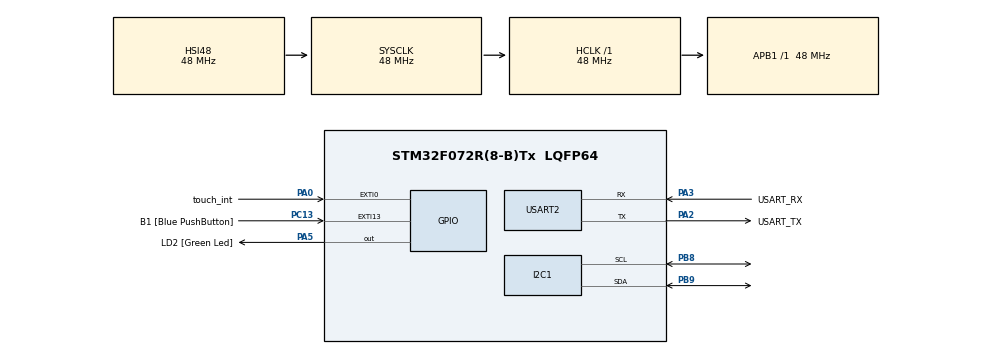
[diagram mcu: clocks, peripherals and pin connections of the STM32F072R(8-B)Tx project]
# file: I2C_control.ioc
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I2C1.Timing=0x00201D2B
Mcu.Family=STM32F0
Mcu.Name=STM32F072R(8-B)Tx
Mcu.Package=LQFP64
NVIC.EXTI0_1_IRQn=true\:3\:0\:true\:false\:true\:true\:true\:true
NVIC.TIM7_IRQn=true\:2\:0\:true\:false\:true\:true\:true\:true
PA0.GPIO_Label=touch_int
PA0.GPIO_ModeDefaultEXTI=GPIO_MODE_IT_RISING_FALLING
PA0.Signal=GPXTI0
PA13.GPIO_Label=TMS
PA13.Mode=Serial_Wire
PA13.Signal=SYS_SWDIO
PA14.GPIO_Label=TCK
PA14.Mode=Serial_Wire
PA14.Signal=SYS_SWCLK
PA2.GPIO_Label=USART_TX
PA2.GPIO_Mode=GPIO_MODE_AF_PP
PA2.GPIO_PuPd=GPIO_NOPULL
PA2.GPIO_Speed=GPIO_SPEED_FREQ_LOW
PA2.Mode=Asynchronous
PA2.Signal=USART2_TX
PA3.GPIO_Label=USART_RX
PA3.GPIO_Mode=GPIO_MODE_AF_PP
PA3.GPIO_PuPd=GPIO_NOPULL
PA3.GPIO_Speed=GPIO_SPEED_FREQ_LOW
PA3.Mode=Asynchronous
PA3.Signal=USART2_RX
PA5.GPIO_Label=LD2 [Green Led]
PA5.GPIO_Mode=GPIO_MODE_OUTPUT_PP
PA5.GPIO_PuPd=GPIO_NOPULL
PA5.GPIO_Speed=GPIO_SPEED_FREQ_LOW
PA5.Signal=GPIO_Output
PB8.Mode=I2C
PB8.Signal=I2C1_SCL
PB9.Mode=I2C
PB9.Signal=I2C1_SDA
PC13.GPIO_Label=B1 [Blue PushButton]
PC13.GPIO_ModeDefaultEXTI=GPIO_MODE_IT_FALLING
PC13.Signal=GPXTI13
PC14-OSC32_IN.Mode=LSE-External-Oscillator
PC14-OSC32_IN.Signal=RCC_OSC32_IN
PC15-OSC32_OUT.Mode=LSE-External-Oscillator
PC15-OSC32_OUT.Signal=RCC_OSC32_OUT
PF0-OSC_IN.Mode=HSE-External-Clock-Source
PF0-OSC_IN.Signal=RCC_OSC_IN
PF1-OSC_OUT.Signal=RCC_OSC_OUT
ProjectManager.HeapSize=0x200
ProjectManager.StackSize=0x400
ProjectManager.TargetToolchain=MDK-ARM V5.32
RCC.AHBFreq_Value=48000000
RCC.APB1Freq_Value=48000000
RCC.APB1TimFreq_Value=48000000
RCC.FLatency-AdvancedSettings=FLASH_LATENCY_1
RCC.HCLKFreq_Value=48000000
RCC.PLLDivider=RCC_PREDIV_DIV2
RCC.PLLMUL=RCC_PLL_MUL12
RCC.PREFETCH_ENABLE-AdvancedSettings=1
RCC.SYSCLKFreq_VALUE=48000000
RCC.SYSCLKSource=RCC_SYSCLKSOURCE_HSI48
TIM7.Prescaler=480
USART2.VirtualMode=VM_ASYNC
USART2.VirtualMode-Asynchronous=VM_ASYNC
VP_TIM7_VS_ClockSourceINT.Mode=Enable_Timer
board=NUCLEO-F072RB

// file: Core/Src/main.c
/* USER CODE BEGIN Header */
/**
  ******************************************************************************
  * @file           : main.c
  * @brief          : Main program body
  ******************************************************************************
  * @attention
  *
  * Copyright (c) 2026 STMicroelectronics.
  * All rights reserved.
  *
  * This software is licensed under terms that can be found in the LICENSE file
  * in the root directory of this software component.
  * If no LICENSE file comes with this software, it is provided AS-IS.
  *
  ******************************************************************************
  */
/* USER CODE END Header */
#include "main.h"

/* USER CODE BEGIN Includes */
#include "touch_control.h"
#include <stdio.h>
#include <string.h>
/* USER CODE END Includes */

I2C_HandleTypeDef hi2c1;

TIM_HandleTypeDef htim7;

UART_HandleTypeDef huart2;

/* USER CODE BEGIN PV */
/* Event bits are set in the EXTI callback, processed in main(). */
#define TOUCH_EVENT_PRESS   0x01U
#define TOUCH_EVENT_RELEASE 0x02U
static volatile uint8_t touch_irq_events = 0U;
static uint8_t touch_pressed = 0U;
static uint32_t touch_last_timer_tick = 0U;
static uint8_t touch_last_key = 0xFFU;

/* USER CODE END PV */

void SystemClock_Config(void);
static void MX_GPIO_Init(void);
static void MX_I2C1_Init(void);
static void MX_TIM7_Init(void);
static void MX_USART2_UART_Init(void);
/* USER CODE BEGIN PFP */
static void Serial_Print(const char *message);
static void Serial_PrintTouchValue(uint8_t value);

/* USER CODE END PFP */

int main(void)
{

  /* USER CODE BEGIN 1 */
  /* Peripheral access must happen AFTER HAL and MX initialization. */
  /* Hardware initialization is performed below. */
  /* USER CODE END 1 */

  /* MCU Configuration--------------------------------------------------------*/

  /* Reset of all peripherals, Initializes the Flash interface and the Systick. */
  HAL_Init();

  /* Configure the system clock */
  SystemClock_Config();

  /* Initialize all configured peripherals */
  MX_GPIO_Init();
  MX_I2C1_Init();
  MX_TIM7_Init();
  MX_USART2_UART_Init();
  /* USER CODE BEGIN 2 */
  /* USART2: 38400, 8 data bits, no parity, 1 stop bit. */
  Serial_Print("STM32 BM Touch Ready\r\n");
  Serial_Print("I2C1: PB8=SCL, PB9=SDA; PA0=Touch INT\r\n");
  Serial_Print("Touch Pad: press/release to test\r\n");
  /* USER CODE END 2 */

  /* Infinite loop */
  /* USER CODE BEGIN WHILE */
  touch_last_timer_tick = HAL_GetTick();
  while (1)
  {
    uint8_t pending;
    uint32_t now;

    /* Copy IRQ events with interrupts briefly disabled. */
    __disable_irq();
    pending = touch_irq_events;
    touch_irq_events = 0U;
    __enable_irq();

    /* Immediately read and print the key when pressing the pad. */
    if ((pending & TOUCH_EVENT_PRESS) != 0U)
    {
      touch_pressed = 1U;
      Serial_Print("int start\r\n");
      getTouchData();
      if (touch_error == 0U)
      {
        touch_last_key = touch_data;
        Serial_PrintTouchValue(touch_data);
        if (touch_data <= 7U)
        {
          {
            char key_msg[32];
            (void)snprintf(key_msg, sizeof(key_msg), "Key Pressed = %u\r\n", (unsigned int)touch_data);
            Serial_Print(key_msg);
          }
        }
      }
      else
      {
        Serial_Print("Touch I2C ERROR\r\n");
      }
    }

    /* Record the release without running a blocking I2C transaction in IRQ. */
    if ((pending & TOUCH_EVENT_RELEASE) != 0U)
    {
      touch_pressed = 0U;
      touch_last_key = 0xFFU;
      Serial_Print("int end\r\nKey Released\r\n");
    }

    /* Once per second, read the CURRENT touch value, not a cached value. */
    now = HAL_GetTick();
    if ((uint32_t)(now - touch_last_timer_tick) >= 1000U)
    {
      touch_last_timer_tick = now;
      getTouchData();
      if (touch_error == 0U)
      {
        touch_last_key = touch_data;
        Serial_Print("timer 7, 1 sec | ");
        Serial_PrintTouchValue(touch_data);
      }
      else
      {
        Serial_Print("timer 7, 1 sec | I2C ERROR\r\n");
      }
    }

    HAL_Delay(5);
    /* USER CODE END WHILE */

  }
}

void SystemClock_Config(void)
{
  RCC_OscInitTypeDef RCC_OscInitStruct = {0};
  RCC_ClkInitTypeDef RCC_ClkInitStruct = {0};
  RCC_PeriphCLKInitTypeDef PeriphClkInit = {0};

  /** Initializes the RCC Oscillators according to the specified parameters
  * in the RCC_OscInitTypeDef structure.
  */
  RCC_OscInitStruct.OscillatorType = RCC_OSCILLATORTYPE_HSI|RCC_OSCILLATORTYPE_HSI48;
  RCC_OscInitStruct.HSIState = RCC_HSI_ON;
  RCC_OscInitStruct.HSI48State = RCC_HSI48_ON;
  RCC_OscInitStruct.HSICalibrationValue = RCC_HSICALIBRATION_DEFAULT;
  RCC_OscInitStruct.PLL.PLLState = RCC_PLL_NONE;
  if (HAL_RCC_OscConfig(&RCC_OscInitStruct) != HAL_OK)
  {
    Error_Handler();
  }

  /** Initializes the CPU, AHB and APB buses clocks
  */
  RCC_ClkInitStruct.ClockType = RCC_CLOCKTYPE_HCLK|RCC_CLOCKTYPE_SYSCLK
                              |RCC_CLOCKTYPE_PCLK1;
  RCC_ClkInitStruct.SYSCLKSource = RCC_SYSCLKSOURCE_HSI48;
  RCC_ClkInitStruct.AHBCLKDivider = RCC_SYSCLK_DIV1;
  RCC_ClkInitStruct.APB1CLKDivider = RCC_HCLK_DIV1;

  if (HAL_RCC_ClockConfig(&RCC_ClkInitStruct, FLASH_LATENCY_1) != HAL_OK)
  {
    Error_Handler();
  }
  PeriphClkInit.PeriphClockSelection = RCC_PERIPHCLK_USART2|RCC_PERIPHCLK_I2C1;
  PeriphClkInit.Usart2ClockSelection = RCC_USART2CLKSOURCE_PCLK1;
  PeriphClkInit.I2c1ClockSelection = RCC_I2C1CLKSOURCE_HSI;
  if (HAL_RCCEx_PeriphCLKConfig(&PeriphClkInit) != HAL_OK)
  {
    Error_Handler();
  }
}

static void MX_I2C1_Init(void)
{

  hi2c1.Instance = I2C1;
  hi2c1.Init.Timing = 0x00201D2B;
  hi2c1.Init.OwnAddress1 = 0;
  hi2c1.Init.AddressingMode = I2C_ADDRESSINGMODE_7BIT;
  hi2c1.Init.DualAddressMode = I2C_DUALADDRESS_DISABLE;
  hi2c1.Init.OwnAddress2 = 0;
  hi2c1.Init.OwnAddress2Masks = I2C_OA2_NOMASK;
  hi2c1.Init.GeneralCallMode = I2C_GENERALCALL_DISABLE;
  hi2c1.Init.NoStretchMode = I2C_NOSTRETCH_DISABLE;
  if (HAL_I2C_Init(&hi2c1) != HAL_OK)
  {
    Error_Handler();
  }

  /** Configure Analogue filter
  */
  if (HAL_I2CEx_ConfigAnalogFilter(&hi2c1, I2C_ANALOGFILTER_ENABLE) != HAL_OK)
  {
    Error_Handler();
  }

  /** Configure Digital filter
  */
  if (HAL_I2CEx_ConfigDigitalFilter(&hi2c1, 0) != HAL_OK)
  {
    Error_Handler();
  }

}

static void MX_TIM7_Init(void)
{

  TIM_MasterConfigTypeDef sMasterConfig = {0};

  htim7.Instance = TIM7;
  htim7.Init.Prescaler = 480;
  htim7.Init.CounterMode = TIM_COUNTERMODE_UP;
  htim7.Init.Period = 65535;
  htim7.Init.AutoReloadPreload = TIM_AUTORELOAD_PRELOAD_DISABLE;
  if (HAL_TIM_Base_Init(&htim7) != HAL_OK)
  {
    Error_Handler();
  }
  sMasterConfig.MasterOutputTrigger = TIM_TRGO_RESET;
  sMasterConfig.MasterSlaveMode = TIM_MASTERSLAVEMODE_DISABLE;
  if (HAL_TIMEx_MasterConfigSynchronization(&htim7, &sMasterConfig) != HAL_OK)
  {
    Error_Handler();
  }

}

static void MX_USART2_UART_Init(void)
{

  huart2.Instance = USART2;
  huart2.Init.BaudRate = 38400;
  huart2.Init.WordLength = UART_WORDLENGTH_8B;
  huart2.Init.StopBits = UART_STOPBITS_1;
  huart2.Init.Parity = UART_PARITY_NONE;
  huart2.Init.Mode = UART_MODE_TX_RX;
  huart2.Init.HwFlowCtl = UART_HWCONTROL_NONE;
  huart2.Init.OverSampling = UART_OVERSAMPLING_16;
  huart2.Init.OneBitSampling = UART_ONE_BIT_SAMPLE_DISABLE;
  huart2.AdvancedInit.AdvFeatureInit = UART_ADVFEATURE_NO_INIT;
  if (HAL_UART_Init(&huart2) != HAL_OK)
  {
    Error_Handler();
  }

}

static void MX_GPIO_Init(void)
{
  GPIO_InitTypeDef GPIO_InitStruct = {0};

  /* GPIO Ports Clock Enable */
  __HAL_RCC_GPIOC_CLK_ENABLE();
  __HAL_RCC_GPIOF_CLK_ENABLE();
  __HAL_RCC_GPIOA_CLK_ENABLE();
  __HAL_RCC_GPIOB_CLK_ENABLE();

  /*Configure GPIO pin Output Level */
  HAL_GPIO_WritePin(LD2_GPIO_Port, LD2_Pin, GPIO_PIN_RESET);

  /*Configure GPIO pin : B1_Pin */
  GPIO_InitStruct.Pin = B1_Pin;
  GPIO_InitStruct.Mode = GPIO_MODE_IT_FALLING;
  GPIO_InitStruct.Pull = GPIO_NOPULL;
  HAL_GPIO_Init(B1_GPIO_Port, &GPIO_InitStruct);

  /*Configure GPIO pin : touch_int_Pin */
  GPIO_InitStruct.Pin = touch_int_Pin;
  GPIO_InitStruct.Mode = GPIO_MODE_IT_RISING_FALLING;
  GPIO_InitStruct.Pull = GPIO_NOPULL;
  HAL_GPIO_Init(touch_int_GPIO_Port, &GPIO_InitStruct);

  /*Configure GPIO pin : LD2_Pin */
  GPIO_InitStruct.Pin = LD2_Pin;
  GPIO_InitStruct.Mode = GPIO_MODE_OUTPUT_PP;
  GPIO_InitStruct.Pull = GPIO_NOPULL;
  GPIO_InitStruct.Speed = GPIO_SPEED_FREQ_LOW;
  HAL_GPIO_Init(LD2_GPIO_Port, &GPIO_InitStruct);

  /* EXTI interrupt init*/
  HAL_NVIC_SetPriority(EXTI0_1_IRQn, 3, 0);
  HAL_NVIC_EnableIRQ(EXTI0_1_IRQn);

}

/* USER CODE BEGIN 4 */
/* Send serial data directly with USART2 HAL, bypassing printf retargeting. */
static void Serial_Print(const char *message)
{
  uint16_t length = (uint16_t)strlen(message);
  (void)HAL_UART_Transmit(&huart2, (uint8_t *)message, length, 100U);
}

/* Print one decimal key value, matching the teacher's "value = N" output. */
static void Serial_PrintTouchValue(uint8_t value)
{
  char line[32];
  (void)snprintf(line, sizeof(line), "value = %u\r\n", (unsigned int)value);
  Serial_Print(line);
}

/* PA0 is the BM touch interrupt pin; never block inside this callback. */
void HAL_GPIO_EXTI_Callback(uint16_t GPIO_Pin)
{
  if (GPIO_Pin == touch_int_Pin)
  {
    if (HAL_GPIO_ReadPin(touch_int_GPIO_Port, touch_int_Pin) == GPIO_PIN_RESET)
    {
      touch_irq_events |= TOUCH_EVENT_PRESS;
    }
    else
    {
      touch_irq_events |= TOUCH_EVENT_RELEASE;
    }
  }
}

/* USER CODE END 4 */

void Error_Handler(void)
{
  __disable_irq();
  while (1)
  {
  }
}
